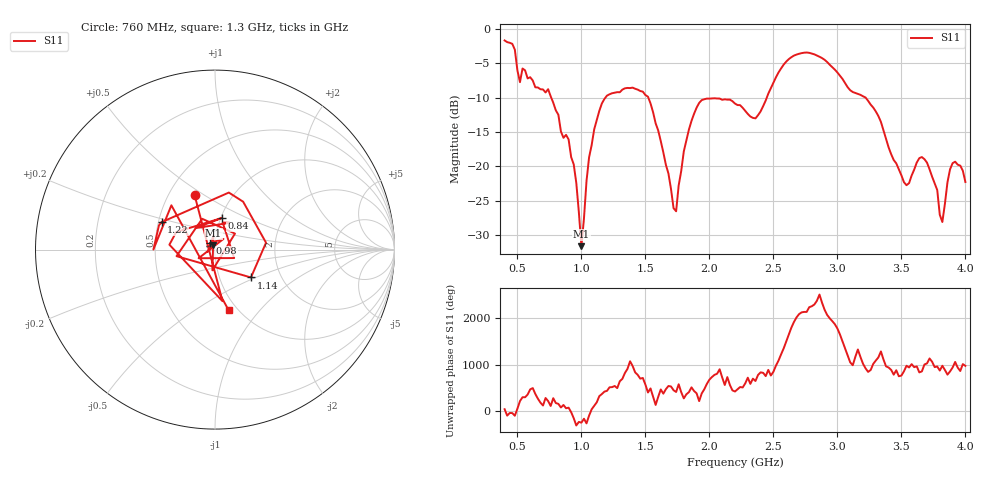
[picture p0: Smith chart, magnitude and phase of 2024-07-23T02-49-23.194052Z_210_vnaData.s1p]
!Created with skrf (http://scikit-rf.org).
# Hz S RI R 50.0
!freq ReS11 ImS11
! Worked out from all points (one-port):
!   181 points, 400 MHz to 4 GHz, reference 50 ohm
!   lowest |S11| = -31.6 dB at 1 GHz (marker M1), VSWR 1.05, Z = 49 + j2.39 ohm
!   |S11| at or under -10 dB: 764 MHz to 1.188 GHz (423.8 MHz wide, 43.4 % of centre); 1.523 GHz to 2.449 GHz (925.8 MHz wide, 46.6 % of centre); 3.22 GHz to end of sweep
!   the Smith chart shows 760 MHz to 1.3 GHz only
!   S11 on the Smith chart (normalised r, x): 760 MHz: 0.67, +0.45; 840 MHz: 1.01, +0.37; 980 MHz: 0.94, +0.07; 1.14 GHz: 1.41, -0.47; 1.22 GHz: 0.52, +0.18; 1.3 GHz: 0.91, -0.70
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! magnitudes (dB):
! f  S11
! 400 MHz  -1.7
! 480 MHz  -3.0
! 520 MHz  -7.8
! 540 MHz  -5.8
! 760 MHz  -9.8
! 840 MHz  -14.9
! 860 MHz  -15.9
! 900 MHz  -16.1
! 980 MHz  -26.7
! 1 GHz  -31.6
! 1.06 GHz  -18.7
! 1.14 GHz  -11.9
! 1.22 GHz  -9.5
! 1.3 GHz  -9.2
! 1.52 GHz  -9.9
! 1.72 GHz  -26.1
! 1.76 GHz  -22.8
! 1.92 GHz  -10.8
! 2.2 GHz  -10.9
! 2.36 GHz  -13.0
! 2.66 GHz  -3.9
! 3.1 GHz  -8.9
! 3.3 GHz  -12.0
! 3.56 GHz  -22.4
! 3.68 GHz  -19.0
! 3.82 GHz  -28.1
! 3.9 GHz  -19.5
! 4 GHz  -22.3
